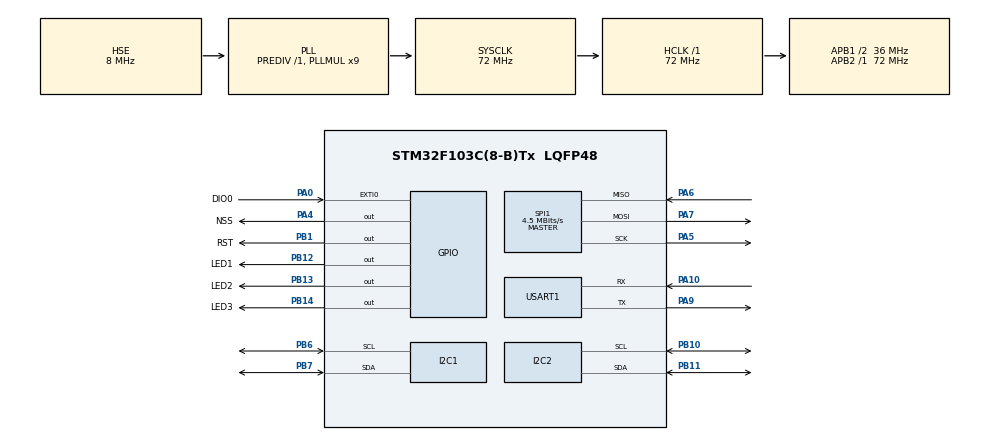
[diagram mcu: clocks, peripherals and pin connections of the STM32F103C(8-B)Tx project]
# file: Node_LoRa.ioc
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I2C2.I2C_Mode=I2C_Fast
Mcu.Family=STM32F1
Mcu.Name=STM32F103C(8-B)Tx
Mcu.Package=LQFP48
NVIC.PriorityGroup=NVIC_PRIORITYGROUP_4
NVIC.USART1_IRQn=true\:0\:0\:false\:false\:true\:true\:true\:true
PA0-WKUP.GPIO_Label=DIO0
PA0-WKUP.Signal=GPXTI0
PA10.Mode=Asynchronous
PA10.Signal=USART1_RX
PA13.Mode=Serial_Wire
PA13.Signal=SYS_JTMS-SWDIO
PA14.Mode=Serial_Wire
PA14.Signal=SYS_JTCK-SWCLK
PA4.GPIO_Label=NSS
PA4.PinState=GPIO_PIN_SET
PA4.Signal=GPIO_Output
PA5.Mode=Full_Duplex_Master
PA5.Signal=SPI1_SCK
PA6.Mode=Full_Duplex_Master
PA6.Signal=SPI1_MISO
PA7.Mode=Full_Duplex_Master
PA7.Signal=SPI1_MOSI
PA9.Mode=Asynchronous
PA9.Signal=USART1_TX
PB1.GPIO_Label=RST
PB1.PinState=GPIO_PIN_SET
PB1.Signal=GPIO_Output
PB10.Mode=I2C
PB10.Signal=I2C2_SCL
PB11.Mode=I2C
PB11.Signal=I2C2_SDA
PB12.GPIO_Label=LED1
PB12.GPIO_PuPd=GPIO_PULLUP
PB12.Signal=GPIO_Output
PB13.GPIO_Label=LED2
PB13.GPIO_PuPd=GPIO_PULLUP
PB13.Signal=GPIO_Output
PB14.GPIO_Label=LED3
PB14.GPIO_PuPd=GPIO_PULLUP
PB14.Signal=GPIO_Output
PB6.Mode=I2C
PB6.Signal=I2C1_SCL
PB7.Mode=I2C
PB7.Signal=I2C1_SDA
PD0-OSC_IN.Mode=HSE-External-Oscillator
PD0-OSC_IN.Signal=RCC_OSC_IN
PD1-OSC_OUT.Mode=HSE-External-Oscillator
PD1-OSC_OUT.Signal=RCC_OSC_OUT
ProjectManager.HeapSize=0x200
ProjectManager.StackSize=0x400
ProjectManager.TargetToolchain=STM32CubeIDE
RCC.AHBFreq_Value=72000000
RCC.APB1CLKDivider=RCC_HCLK_DIV2
RCC.APB1Freq_Value=36000000
RCC.APB1TimFreq_Value=72000000
RCC.APB2Freq_Value=72000000
RCC.APB2TimFreq_Value=72000000
RCC.HCLKFreq_Value=72000000
RCC.PLLMUL=RCC_PLL_MUL9
RCC.PLLSourceVirtual=RCC_PLLSOURCE_HSE
RCC.SYSCLKFreq_VALUE=72000000
RCC.SYSCLKSource=RCC_SYSCLKSOURCE_PLLCLK
RCC.USBFreq_Value=72000000
SPI1.BaudRatePrescaler=SPI_BAUDRATEPRESCALER_16
SPI1.CalculateBaudRate=4.5 MBits/s
SPI1.Direction=SPI_DIRECTION_2LINES
SPI1.Mode=SPI_MODE_MASTER
SPI1.VirtualType=VM_MASTER
TIM2.Period=9999
TIM2.Prescaler=7199
USART1.VirtualMode=VM_ASYNC
VP_TIM2_VS_ClockSourceINT.Mode=Internal
board=custom

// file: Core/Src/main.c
/* USER CODE BEGIN Header */
/**
  ******************************************************************************
  * @file           : main.c
  * @brief          : Main program body
  ******************************************************************************
  * @attention
  *
  * Copyright (c) 2025 STMicroelectronics.
  * All rights reserved.
  *
  * This software is licensed under terms that can be found in the LICENSE file
  * in the root directory of this software component.
  * If no LICENSE file comes with this software, it is provided AS-IS.
  *
  ******************************************************************************
  */
/* USER CODE END Header */
#include "main.h"

/* USER CODE BEGIN Includes */
#include "string.h"
#include "stdio.h"
#include "stdlib.h"
#include "i2c_lcd.h"
#include "aht10.h"
#include "LoRa.h"
/* USER CODE END Includes */

I2C_HandleTypeDef hi2c1;
I2C_HandleTypeDef hi2c2;

SPI_HandleTypeDef hspi1;

TIM_HandleTypeDef htim2;

UART_HandleTypeDef huart1;

/* USER CODE BEGIN PV */
AHT10_HandleTypeDef aht10;
I2C_LCD_HandleTypeDef lcd;

LoRa myLoRa;

char debug[32];
char buffer[32];
float temperature, humidity;
uint32_t temp_raw = 0;
uint32_t hum_raw = 0;

//Biến cấu hình ngưỡng và chu kỳ
float temp_max = 30.0;
float temp_min = 25.0;
float humi_max = 70.0;
float humi_min = 40.0;
uint32_t interval_ms = 1000;  // mặc định 1 giây

uint8_t uart_rx_buf[64];
char uart_line[64];
uint8_t uart_index = 0;

/* USER CODE END PV */

void SystemClock_Config(void);
static void MX_GPIO_Init(void);
static void MX_I2C1_Init(void);
static void MX_I2C2_Init(void);
static void MX_SPI1_Init(void);
static void MX_USART1_UART_Init(void);
static void MX_TIM2_Init(void);
/* USER CODE BEGIN PFP */

// Phân tích lệnh từ UART
void parse_uart_command(char *cmd) {
    if (strncmp(cmd, "SET:", 4) == 0) {
        char *token = strtok(cmd + 4, ":");
        while (token != NULL) {
            if (strncmp(token, "TMAX=", 5) == 0) temp_max = atof(token + 5);
            else if (strncmp(token, "TMIN=", 5) == 0) temp_min = atof(token + 5);
            else if (strncmp(token, "HMAX=", 5) == 0) humi_max = atof(token + 5);
            else if (strncmp(token, "HMIN=", 5) == 0) humi_min = atof(token + 5);
            else if (strncmp(token, "INTERVAL=", 9) == 0) interval_ms = atoi(token + 9) * 1000;
            token = strtok(NULL, ":");
        }
        HAL_UART_Transmit(&huart1, (uint8_t*)"Config Updated\r\n", 16, HAL_MAX_DELAY);
    }
}

/* Ngắt USART1 xử lý ngay trong main.c */
void HAL_UART_RxCpltCallback(UART_HandleTypeDef *huart) {
    if (huart->Instance == USART1) {
        char ch = uart_rx_buf[0];

        if (ch == '\n' || ch == '\r') {
            uart_line[uart_index] = '\0';  // kết thúc chuỗi

            HAL_UART_Transmit(&huart1, (uint8_t*)"Received: ", 10, HAL_MAX_DELAY);
            HAL_UART_Transmit(&huart1, (uint8_t*)uart_line, strlen(uart_line), HAL_MAX_DELAY);
            HAL_UART_Transmit(&huart1, (uint8_t*)"\r\n", 2, HAL_MAX_DELAY);

            parse_uart_command(uart_line);  // xử lý lệnh
            uart_index = 0;
            memset(uart_line, 0, sizeof(uart_line));
        } else {
            if (uart_index < sizeof(uart_line) - 1) {
                uart_line[uart_index++] = ch;
            }
        }

        // nhận tiếp 1 byte
        HAL_UART_Receive_IT(&huart1, uart_rx_buf, 1);
    }
}

/* USER CODE END PFP */

int main(void)
{

  /* MCU Configuration--------------------------------------------------------*/

  /* Reset of all peripherals, Initializes the Flash interface and the Systick. */
  HAL_Init();

  /* Configure the system clock */
  SystemClock_Config();

  /* Initialize all configured peripherals */
  MX_GPIO_Init();
  MX_I2C1_Init();
  MX_I2C2_Init();
  MX_SPI1_Init();
  MX_USART1_UART_Init();
  MX_TIM2_Init();
  /* USER CODE BEGIN 2 */

  // Bật Timer với ngắt
  HAL_TIM_Base_Start_IT(&htim2);

  //Bật receive uart
  HAL_UART_Receive_IT(&huart1, uart_rx_buf, 1);  // khởi động nhận từng byte

  //Init LCD
  lcd.hi2c = &hi2c1;
  lcd.address = 0x4E;
  lcd_init(&lcd);
  lcd_clear(&lcd);

  //Init AHT10
  aht10.hi2c = &hi2c2;
  aht10.address = 0x38<<1; //AHT10 default address << 1 = 0x38 << 1 = 0x70
  AHT10_Init(&aht10);
  HAL_Delay(50);

  //Init LoRa
  myLoRa = newLoRa();

  myLoRa.CS_port         = NSS_GPIO_Port;
  myLoRa.CS_pin          = NSS_Pin;
  myLoRa.reset_port      = RST_GPIO_Port;
  myLoRa.reset_pin       = RST_Pin;
  myLoRa.DIO0_port       = DIO0_GPIO_Port;
  myLoRa.DIO0_pin        = DIO0_Pin;
  myLoRa.hSPIx           = &hspi1;

  LoRa_init(&myLoRa);

    if (!LoRa_init(&myLoRa)) {
        HAL_UART_Transmit(&huart1, (uint8_t*)"LoRa init failed\r\n", 18, 100);
    }
    else {
    	HAL_UART_Transmit(&huart1, (uint8_t*)"LoRa init done\r\n", 14, 100);
    }

  /* USER CODE END 2 */

  /* Infinite loop */
  /* USER CODE BEGIN WHILE */
  while (1)
  {
		//Read sensor AHT10
		if (AHT10_ReadRaw(&aht10, &hum_raw, &temp_raw)) {
			temperature = AHT10_ReadTemperature(temp_raw);
			humidity = AHT10_ReadHumidity(hum_raw);

			int temp_int = (int) temperature;
			int temp_frac = (int) ((temperature - temp_int) * 10);

			int hum_int = (int) humidity;
			int hum_frac = (int) ((humidity - hum_int) * 10);

			//Send data via UART & LoRa
			uint8_t node_id = 01;
			sprintf(buffer, "NODE%d:%d.%d:%d.%d\r\n", node_id, temp_int,
					temp_frac, hum_int, hum_frac);
			HAL_UART_Transmit(&huart1, (uint8_t*) buffer, strlen(buffer),
			HAL_MAX_DELAY);

			if (!LoRa_transmit(&myLoRa, (uint8_t*) buffer, strlen(buffer),
					100)) {
				HAL_UART_Transmit(&huart1, (uint8_t*) "LoRa Send Error\r\n", 17,
				HAL_MAX_DELAY);
			}

			// LED theo nhiệt độ
			HAL_GPIO_WritePin(GPIOB, GPIO_PIN_12, GPIO_PIN_RESET);
			HAL_GPIO_WritePin(GPIOB, GPIO_PIN_13, GPIO_PIN_RESET);
			HAL_GPIO_WritePin(GPIOB, GPIO_PIN_14, GPIO_PIN_RESET);

			GPIO_TypeDef *ledPort = GPIOB;
			uint16_t ledPin;
			if (temperature > temp_max) {
				ledPin = GPIO_PIN_12; // đỏ
			} else if (temperature >= temp_min) {
				ledPin = GPIO_PIN_13; // vàng
			} else {
				ledPin = GPIO_PIN_14; // xanh
			}

			uint32_t displayTime = 2000;
			uint32_t startTime = HAL_GetTick();
			while ((HAL_GetTick() - startTime) < displayTime) {
				if (humidity >= humi_min && humidity <= humi_max) {
					HAL_GPIO_WritePin(ledPort, ledPin, GPIO_PIN_SET);
				} else if (humidity < humi_min) {
					HAL_GPIO_WritePin(ledPort, ledPin, GPIO_PIN_SET);
					HAL_Delay(100);
					HAL_GPIO_WritePin(ledPort, ledPin, GPIO_PIN_RESET);
					HAL_Delay(100);
				} else {
					HAL_GPIO_WritePin(ledPort, ledPin, GPIO_PIN_SET);
					HAL_Delay(500);
					HAL_GPIO_WritePin(ledPort, ledPin, GPIO_PIN_RESET);
					HAL_Delay(500);
				}
			}

			//Display on LCD
			sprintf(buffer, "Temp: %d.%d C", temp_int, temp_frac);
			lcd_gotoxy(&lcd, 0, 0);
			lcd_puts(&lcd, buffer);

			sprintf(buffer, "Hum:  %d.%d %%", hum_int, hum_frac);
			lcd_gotoxy(&lcd, 0, 1);
			lcd_puts(&lcd, buffer);
		} else {
			lcd_gotoxy(&lcd, 0, 0);
			HAL_UART_Transmit(&huart1, (uint8_t*) "AHT10 Error\r\n", 13,
					HAL_MAX_DELAY);
		}

		// Delay theo chu kỳ
		HAL_Delay(interval_ms);

//	  // ---- CHẾ ĐỘ SLEEP ----
//	  HAL_SuspendTick();  // Ngừng SysTick để không tự wake up
//	  HAL_PWR_EnterSLEEPMode(PWR_MAINREGULATOR_ON, PWR_SLEEPENTRY_WFI);
//	  HAL_ResumeTick();   // Khi wake up xong, bật lại SysTick;

    /* USER CODE END WHILE */

  }
}

void SystemClock_Config(void)
{
  RCC_OscInitTypeDef RCC_OscInitStruct = {0};
  RCC_ClkInitTypeDef RCC_ClkInitStruct = {0};

  /** Initializes the RCC Oscillators according to the specified parameters
  * in the RCC_OscInitTypeDef structure.
  */
  RCC_OscInitStruct.OscillatorType = RCC_OSCILLATORTYPE_HSE;
  RCC_OscInitStruct.HSEState = RCC_HSE_ON;
  RCC_OscInitStruct.HSEPredivValue = RCC_HSE_PREDIV_DIV1;
  RCC_OscInitStruct.HSIState = RCC_HSI_ON;
  RCC_OscInitStruct.PLL.PLLState = RCC_PLL_ON;
  RCC_OscInitStruct.PLL.PLLSource = RCC_PLLSOURCE_HSE;
  RCC_OscInitStruct.PLL.PLLMUL = RCC_PLL_MUL9;
  if (HAL_RCC_OscConfig(&RCC_OscInitStruct) != HAL_OK)
  {
    Error_Handler();
  }

  /** Initializes the CPU, AHB and APB buses clocks
  */
  RCC_ClkInitStruct.ClockType = RCC_CLOCKTYPE_HCLK|RCC_CLOCKTYPE_SYSCLK
                              |RCC_CLOCKTYPE_PCLK1|RCC_CLOCKTYPE_PCLK2;
  RCC_ClkInitStruct.SYSCLKSource = RCC_SYSCLKSOURCE_PLLCLK;
  RCC_ClkInitStruct.AHBCLKDivider = RCC_SYSCLK_DIV1;
  RCC_ClkInitStruct.APB1CLKDivider = RCC_HCLK_DIV2;
  RCC_ClkInitStruct.APB2CLKDivider = RCC_HCLK_DIV1;

  if (HAL_RCC_ClockConfig(&RCC_ClkInitStruct, FLASH_LATENCY_2) != HAL_OK)
  {
    Error_Handler();
  }
}

static void MX_I2C1_Init(void)
{

  hi2c1.Instance = I2C1;
  hi2c1.Init.ClockSpeed = 100000;
  hi2c1.Init.DutyCycle = I2C_DUTYCYCLE_2;
  hi2c1.Init.OwnAddress1 = 0;
  hi2c1.Init.AddressingMode = I2C_ADDRESSINGMODE_7BIT;
  hi2c1.Init.DualAddressMode = I2C_DUALADDRESS_DISABLE;
  hi2c1.Init.OwnAddress2 = 0;
  hi2c1.Init.GeneralCallMode = I2C_GENERALCALL_DISABLE;
  hi2c1.Init.NoStretchMode = I2C_NOSTRETCH_DISABLE;
  if (HAL_I2C_Init(&hi2c1) != HAL_OK)
  {
    Error_Handler();
  }

}

static void MX_I2C2_Init(void)
{

  hi2c2.Instance = I2C2;
  hi2c2.Init.ClockSpeed = 400000;
  hi2c2.Init.DutyCycle = I2C_DUTYCYCLE_2;
  hi2c2.Init.OwnAddress1 = 0;
  hi2c2.Init.AddressingMode = I2C_ADDRESSINGMODE_7BIT;
  hi2c2.Init.DualAddressMode = I2C_DUALADDRESS_DISABLE;
  hi2c2.Init.OwnAddress2 = 0;
  hi2c2.Init.GeneralCallMode = I2C_GENERALCALL_DISABLE;
  hi2c2.Init.NoStretchMode = I2C_NOSTRETCH_DISABLE;
  if (HAL_I2C_Init(&hi2c2) != HAL_OK)
  {
    Error_Handler();
  }

}

static void MX_SPI1_Init(void)
{

  /* SPI1 parameter configuration*/
  hspi1.Instance = SPI1;
  hspi1.Init.Mode = SPI_MODE_MASTER;
  hspi1.Init.Direction = SPI_DIRECTION_2LINES;
  hspi1.Init.DataSize = SPI_DATASIZE_8BIT;
  hspi1.Init.CLKPolarity = SPI_POLARITY_LOW;
  hspi1.Init.CLKPhase = SPI_PHASE_1EDGE;
  hspi1.Init.NSS = SPI_NSS_SOFT;
  hspi1.Init.BaudRatePrescaler = SPI_BAUDRATEPRESCALER_16;
  hspi1.Init.FirstBit = SPI_FIRSTBIT_MSB;
  hspi1.Init.TIMode = SPI_TIMODE_DISABLE;
  hspi1.Init.CRCCalculation = SPI_CRCCALCULATION_DISABLE;
  hspi1.Init.CRCPolynomial = 10;
  if (HAL_SPI_Init(&hspi1) != HAL_OK)
  {
    Error_Handler();
  }

}

static void MX_TIM2_Init(void)
{

  TIM_ClockConfigTypeDef sClockSourceConfig = {0};
  TIM_MasterConfigTypeDef sMasterConfig = {0};

  htim2.Instance = TIM2;
  htim2.Init.Prescaler = 7199;
  htim2.Init.CounterMode = TIM_COUNTERMODE_UP;
  htim2.Init.Period = 9999;
  htim2.Init.ClockDivision = TIM_CLOCKDIVISION_DIV1;
  htim2.Init.AutoReloadPreload = TIM_AUTORELOAD_PRELOAD_DISABLE;
  if (HAL_TIM_Base_Init(&htim2) != HAL_OK)
  {
    Error_Handler();
  }
  sClockSourceConfig.ClockSource = TIM_CLOCKSOURCE_INTERNAL;
  if (HAL_TIM_ConfigClockSource(&htim2, &sClockSourceConfig) != HAL_OK)
  {
    Error_Handler();
  }
  sMasterConfig.MasterOutputTrigger = TIM_TRGO_RESET;
  sMasterConfig.MasterSlaveMode = TIM_MASTERSLAVEMODE_DISABLE;
  if (HAL_TIMEx_MasterConfigSynchronization(&htim2, &sMasterConfig) != HAL_OK)
  {
    Error_Handler();
  }

}

static void MX_USART1_UART_Init(void)
{

  huart1.Instance = USART1;
  huart1.Init.BaudRate = 115200;
  huart1.Init.WordLength = UART_WORDLENGTH_8B;
  huart1.Init.StopBits = UART_STOPBITS_1;
  huart1.Init.Parity = UART_PARITY_NONE;
  huart1.Init.Mode = UART_MODE_TX_RX;
  huart1.Init.HwFlowCtl = UART_HWCONTROL_NONE;
  huart1.Init.OverSampling = UART_OVERSAMPLING_16;
  if (HAL_UART_Init(&huart1) != HAL_OK)
  {
    Error_Handler();
  }

}

static void MX_GPIO_Init(void)
{
  GPIO_InitTypeDef GPIO_InitStruct = {0};

  /* GPIO Ports Clock Enable */
  __HAL_RCC_GPIOD_CLK_ENABLE();
  __HAL_RCC_GPIOA_CLK_ENABLE();
  __HAL_RCC_GPIOB_CLK_ENABLE();

  /*Configure GPIO pin Output Level */
  HAL_GPIO_WritePin(NSS_GPIO_Port, NSS_Pin, GPIO_PIN_SET);

  /*Configure GPIO pin Output Level */
  HAL_GPIO_WritePin(RST_GPIO_Port, RST_Pin, GPIO_PIN_SET);

  /*Configure GPIO pin Output Level */
  HAL_GPIO_WritePin(GPIOB, LED1_Pin|LED2_Pin|LED3_Pin, GPIO_PIN_RESET);

  /*Configure GPIO pin : DIO0_Pin */
  GPIO_InitStruct.Pin = DIO0_Pin;
  GPIO_InitStruct.Mode = GPIO_MODE_IT_RISING;
  GPIO_InitStruct.Pull = GPIO_NOPULL;
  HAL_GPIO_Init(DIO0_GPIO_Port, &GPIO_InitStruct);

  /*Configure GPIO pin : NSS_Pin */
  GPIO_InitStruct.Pin = NSS_Pin;
  GPIO_InitStruct.Mode = GPIO_MODE_OUTPUT_PP;
  GPIO_InitStruct.Pull = GPIO_NOPULL;
  GPIO_InitStruct.Speed = GPIO_SPEED_FREQ_LOW;
  HAL_GPIO_Init(NSS_GPIO_Port, &GPIO_InitStruct);

  /*Configure GPIO pin : RST_Pin */
  GPIO_InitStruct.Pin = RST_Pin;
  GPIO_InitStruct.Mode = GPIO_MODE_OUTPUT_PP;
  GPIO_InitStruct.Pull = GPIO_NOPULL;
  GPIO_InitStruct.Speed = GPIO_SPEED_FREQ_LOW;
  HAL_GPIO_Init(RST_GPIO_Port, &GPIO_InitStruct);

  /*Configure GPIO pins : LED1_Pin LED2_Pin LED3_Pin */
  GPIO_InitStruct.Pin = LED1_Pin|LED2_Pin|LED3_Pin;
  GPIO_InitStruct.Mode = GPIO_MODE_OUTPUT_PP;
  GPIO_InitStruct.Pull = GPIO_PULLUP;
  GPIO_InitStruct.Speed = GPIO_SPEED_FREQ_LOW;
  HAL_GPIO_Init(GPIOB, &GPIO_InitStruct);

}

void Error_Handler(void)
{
  __disable_irq();
  while (1)
  {
  }
}
